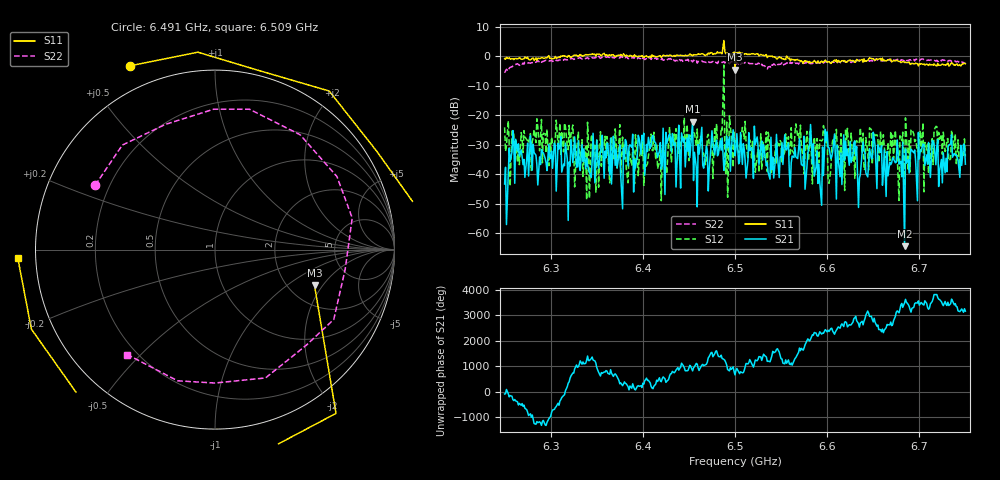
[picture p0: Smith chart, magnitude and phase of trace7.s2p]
# Hz S RI R 50
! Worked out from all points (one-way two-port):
!   401 points, 6.25 GHz to 6.75 GHz, reference 50 ohm
!   highest |S21| = -22.19 dB at 6.454 GHz (marker M1); lowest = -64.3 dB at 6.684 GHz (marker M2)
!   lowest |S11| = -4.6 dB at 6.5 GHz (marker M3), VSWR 3.87, Z = 137 - j83.8 ohm
!   |S11| at or under -10 dB: nowhere
!   |S22| runs from -5.6 to -0.1 dB; largest |S21 - S12| = 0.71
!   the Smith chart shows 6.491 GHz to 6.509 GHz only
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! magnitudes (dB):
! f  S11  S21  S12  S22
! 6.25 GHz  -0.9  -43.3  -24.1  -5.6
! 6.258 GHz  -1.0  -32.4  -25.4  -3.6
! 6.318 GHz  -0.4  -34.7  -30.5  -1.3
! 6.334 GHz  0.1  -30.0  -28.3  -1.0
! 6.372 GHz  0.2  -37.9  -37.8  -0.5
! 6.404 GHz  0.1  -29.9  -37.0  -0.9
! 6.41 GHz  0.4  -27.3  -31.8  -0.5
! 6.418 GHz  0.1  -32.1  -35.9  -0.8
! 6.454 GHz  0.1  -22.2  -27.2  -1.9
! 6.458 GHz  0.4  -37.7  -30.2  -1.3
! 6.462 GHz  0.6  -30.9  -27.2  -1.8
! 6.485 GHz  0.9  -31.8  -24.4  -2.0
! 6.5 GHz  -4.6  -33.7  -29.2  -2.1
! 6.535 GHz  -0.5  -36.1  -39.1  -4.3
! 6.584 GHz  -2.1  -36.5  -43.3  -2.5
! 6.591 GHz  -2.2  -36.5  -36.1  -2.4
! 6.6 GHz  -2.0  -25.7  -26.9  -1.9
! 6.611 GHz  -2.3  -30.2  -30.7  -1.9
! 6.668 GHz  -1.3  -35.9  -35.3  -1.1
! 6.684 GHz  -2.2  -64.3  -44.1  -1.6
! 6.701 GHz  -2.8  -32.2  -25.2  -1.3
! 6.75 GHz  -2.6  -36.6  -34.0  -2.5
